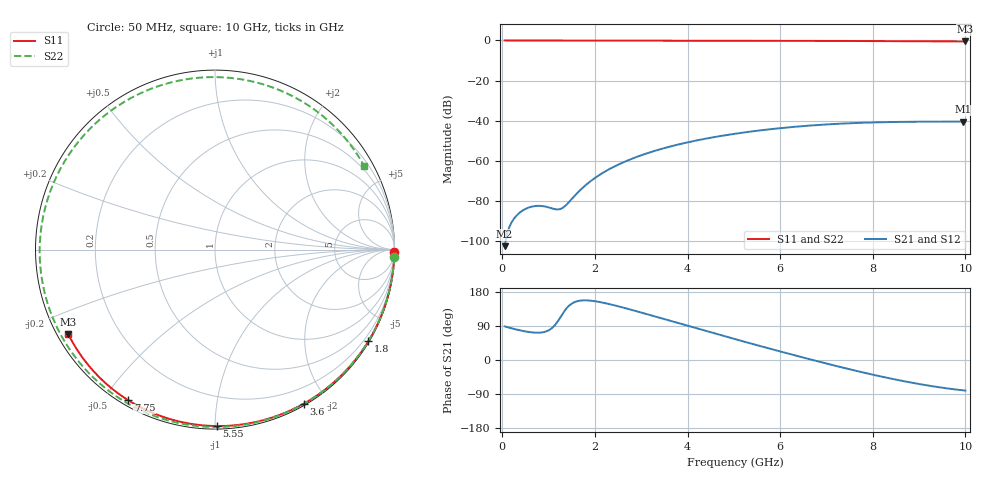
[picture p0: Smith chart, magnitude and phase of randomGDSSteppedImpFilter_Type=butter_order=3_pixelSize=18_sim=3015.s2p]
! freq	dB(S11)	phase(S11)	dB(S12)	phase(S12)
!  dB(S21)	phase(S21)	dB(S22)	phase(S22)
!S-par simulation data
#  GHz  S  DB  R 50
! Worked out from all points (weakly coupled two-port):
!   200 points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, 50 MHz to 10 GHz, reference 50 ohm
!   highest |S21| = -40.50 dB at 9.95 GHz (marker M1); lowest = -102.7 dB at 50 MHz (marker M2)
!   lowest |S11| = -0.5 dB at 10 GHz (marker M3), VSWR 34.52, Z = 1.55 - j13.4 ohm
!   |S11| at or under -10 dB: nowhere
!   |S22| runs from -0.4 to 0.0 dB; largest |S21 - S12| = 0
!   S11 on the Smith chart (normalised r, x): 50 MHz: open; 1.8 GHz: 0.03, -3.62; 3.6 GHz: 0.02, -1.73; 5.55 GHz: 0.02, -1.01; 7.75 GHz: 0.02, -0.58; 10 GHz: 0.03, -0.27
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0.05  -0.00 -0.9  -102.70 88.8  -102.70 88.8  -0.00 -2.4
0.35  -0.01 -6.1  -86.46 79.1  -86.46 79.1  -0.02 -16.7
0.65  -0.01 -11.3  -82.90 72.7  -82.90 72.7  -0.04 -30.7
1.05  -0.02 -18.1  -83.67 82.1  -83.67 82.1  -0.06 -48.8
1.45  -0.03 -24.9  -80.44 144.2  -80.44 144.2  -0.08 -66.1
1.75  -0.04 -30.0  -73.25 157.4  -73.25 157.4  -0.09 -78.5
1.8  -0.04 -30.8  -72.24 157.5  -72.24 157.5  -0.09 -80.5
2.1  -0.05 -35.9  -67.12 153.1  -67.12 153.1  -0.10 -92.2
2.45  -0.05 -41.6  -62.59 143.4  -62.59 143.4  -0.11 -105.1
3.4  -0.08 -57.0  -54.38 111.3  -54.38 111.3  -0.15 -137.0
3.6  -0.08 -60.1  -53.11 104.3  -53.11 104.3  -0.15 -143.2
4.3  -0.10 -70.9  -49.43 79.9  -49.43 79.9  -0.18 -164.1
5.05  -0.13 -82.2  -46.49 54.2  -46.49 54.2  -0.21 174.7
5.55  -0.15 -89.5  -44.95 37.4  -44.95 37.4  -0.23 160.8
6.1  -0.17 -97.3  -43.56 19.3  -43.56 19.3  -0.26 145.5
6.7  -0.21 -105.7  -42.39 0.1  -42.39 0.1  -0.29 128.6
7.25  -0.24 -113.2  -41.60 -17.0  -41.60 -17.0  -0.31 112.9
7.75  -0.28 -120.0  -41.11 -31.7  -41.11 -31.7  -0.33 98.2
8.35  -0.33 -128.0  -40.75 -48.0  -40.75 -48.0  -0.36 80.2
9.1  -0.40 -138.0  -40.55 -65.5  -40.55 -65.5  -0.38 57.2
9.95  -0.50 -149.3  -40.50 -80.0  -40.50 -80.0  -0.42 30.8
10  -0.50 -150.0  -40.50 -80.7  -40.50 -80.7  -0.42 29.3
